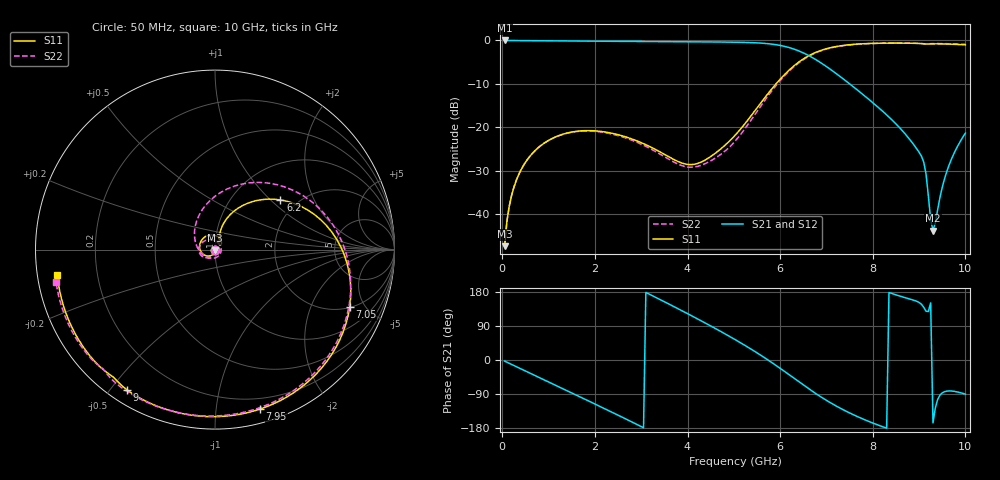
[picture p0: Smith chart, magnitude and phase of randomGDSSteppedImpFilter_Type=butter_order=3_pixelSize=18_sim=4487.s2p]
! freq	dB(S11)	phase(S11)	dB(S12)	phase(S12)
!  dB(S21)	phase(S21)	dB(S22)	phase(S22)
!S-par simulation data
#  GHz  S  DB  R 50
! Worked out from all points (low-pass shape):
!   200 points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, 50 MHz to 10 GHz, reference 50 ohm
!   highest |S21| = 0.00 dB at 50 MHz (marker M1); lowest = -43.9 dB at 9.3 GHz (marker M2)
!   |S21| within 3 dB of the highest: start of sweep to 6.526 GHz
!   lowest |S11| = -47.4 dB at 50 MHz (marker M3), VSWR 1.01, Z = 50 - j0.424 ohm
!   |S11| at or under -10 dB: start of sweep to 5.912 GHz
!   |S22| runs from -47.4 to -0.6 dB; largest |S21 - S12| = 0
!   S11 on the Smith chart (normalised r, x): 50 MHz: 1.00, -0.01; 6.2 GHz: 1.65, +1.15; 7.05 GHz: 2.01, -3.88; 7.95 GHz: 0.11, -1.32; 9 GHz: 0.05, -0.55; 10 GHz: 0.06, -0.08
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0.05  -47.44 -87.3  -0.00 -2.9  -0.00 -2.9  -47.43 -86.3
0.1  -41.69 -93.4  -0.01 -5.9  -0.01 -5.9  -41.67 -91.6
0.2  -35.78 -102.0  -0.02 -11.7  -0.02 -11.7  -35.76 -98.5
0.5  -28.11 -123.5  -0.05 -29.1  -0.05 -29.1  -28.09 -114.8
1.15  -22.24 -168.1  -0.10 -66.7  -0.10 -66.7  -22.26 -147.3
1.75  -20.82 150.4  -0.16 -101.5  -0.16 -101.5  -20.89 -176.1
2.65  -22.19 87.6  -0.21 -154.6  -0.21 -154.6  -22.44 140.3
3.4  -25.67 46.0  -0.26 159.9  -0.26 159.9  -26.17 90.7
4.3  -28.02 55.1  -0.33 103.0  -0.33 103.0  -28.77 -30.9
5.05  -21.60 72.4  -0.41 52.3  -0.41 52.3  -22.95 -154.0
5.65  -13.46 66.5  -0.66 7.1  -0.66 7.1  -14.07 119.4
6.2  -6.78 37.2  -1.66 -39.5  -1.66 -39.5  -7.02 57.1
6.7  -3.08 1.2  -3.98 -82.9  -3.98 -82.9  -3.20 7.3
7.05  -1.77 -23.2  -6.40 -110.2  -6.40 -110.2  -1.84 -22.5
7.5  -0.98 -50.7  -10.01 -139.7  -10.01 -139.7  -1.03 -54.0
7.95  -0.69 -74.2  -13.90 -163.9  -13.90 -163.9  -0.72 -79.6
8.35  -0.62 -93.0  -17.67 178.0  -17.67 178.0  -0.63 -99.0
9  -0.70 -122.1  -25.78 151.9  -25.78 151.9  -0.67 -127.2
9.15  -0.83 -128.4  -30.81 128.7  -30.81 128.7  -0.80 -133.0
9.3  -0.77 -134.7  -43.86 -166.0  -43.86 -166.0  -0.73 -138.5
9.6  -0.83 -149.2  -30.17 -82.1  -30.17 -82.1  -0.75 -151.0
10  -1.01 -170.7  -21.37 -90.1  -21.37 -90.1  -0.88 -168.3
